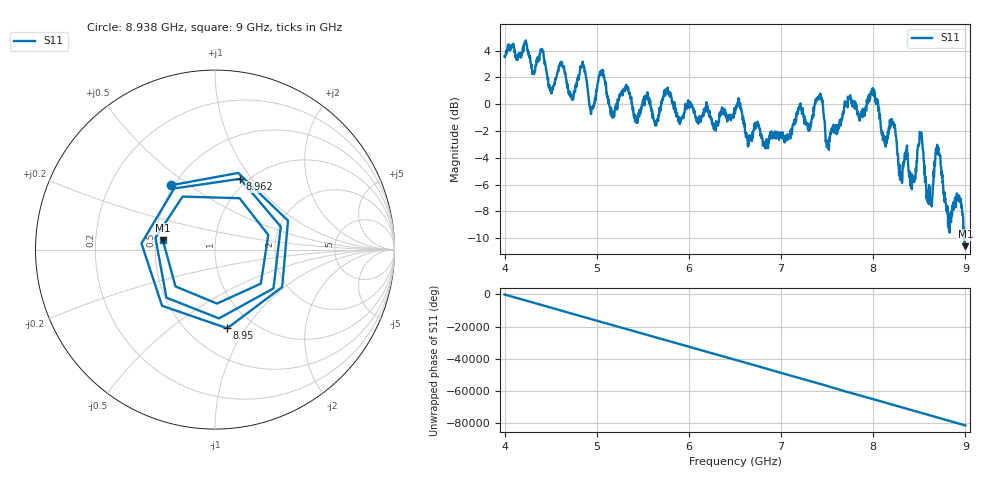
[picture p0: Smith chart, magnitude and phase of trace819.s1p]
! Created with skrf 1.8.0 (http://scikit-rf.org).
# Hz S RI R 50.0
!freq ReS11 ImS11
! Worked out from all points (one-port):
!   1601 points, 4 GHz to 9 GHz, reference 50 ohm
!   lowest |S11| = -10.6 dB at 9 GHz (marker M1), VSWR 1.84, Z = 27.4 + j3.17 ohm
!   |S11| at or under -10 dB: 8.984479 GHz to 8.990472 GHz (5.993 MHz wide, 0.0667 % of centre); 8.991311 GHz to end of sweep
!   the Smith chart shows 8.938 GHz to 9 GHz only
!   S11 on the Smith chart (normalised r, x): 8.938 GHz: 0.48, +0.43; 8.95 GHz: 0.76, -0.83; 8.962 GHz: 0.92, +0.88; 9 GHz: 0.55, +0.06
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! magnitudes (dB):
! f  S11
! 4 GHz  3.6
! 4.406 GHz  4.1
! 4.5 GHz  1.2
! 4.625 GHz  2.9
! 4.725 GHz  0.6
! 4.85 GHz  3.1
! 4.944 GHz  -0.2
! 5.047 GHz  2.5
! 5.166 GHz  -0.6
! 5.25 GHz  0.6
! 5.875 GHz  -0.9
! 6.5 GHz  -0.7
! 7.125 GHz  -1.6
! 7.422 GHz  0.4
! 7.509 GHz  -3.2
! 7.75 GHz  0.7
! 7.994 GHz  1.2
! 8.297 GHz  -5.4
! 8.375 GHz  -4.1
! 8.431 GHz  -5.8
! 8.519 GHz  -2.2
! 8.616 GHz  -7.1
! 8.703 GHz  -3.4
! 8.812 GHz  -9.1
! 8.938 GHz  -7.2
! 8.95 GHz  -7.1
! 8.962 GHz  -7.6
! 9 GHz  -10.6
